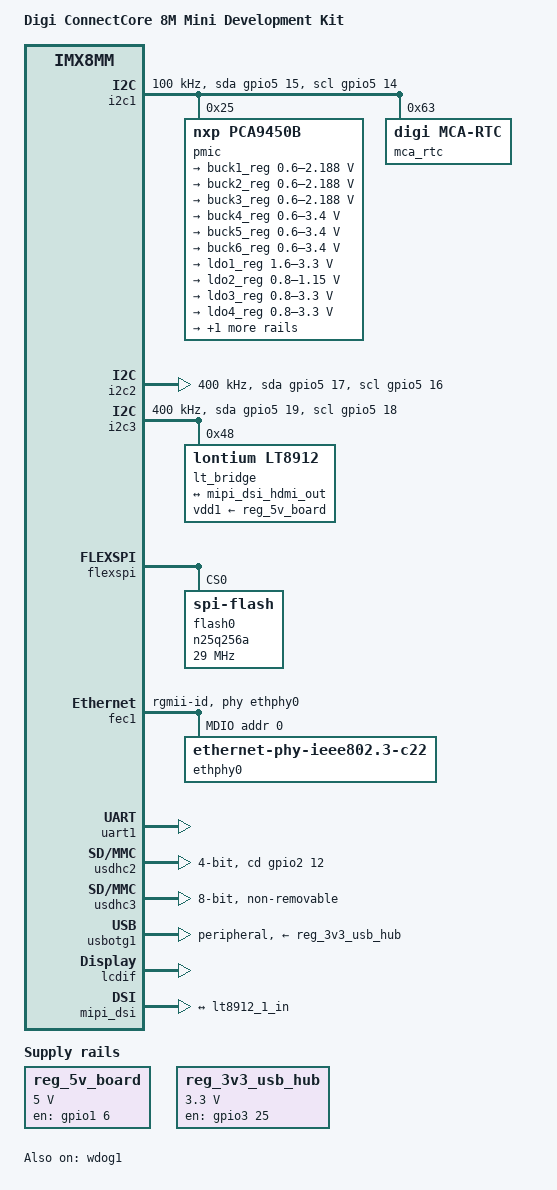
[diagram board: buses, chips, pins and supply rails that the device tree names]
/*
 * Copyright 2021-2024 Digi International Inc
 * Copyright 2018-2019 NXP
 *
 * This program is free software; you can redistribute it and/or
 * modify it under the terms of the GNU General Public License
 * as published by the Free Software Foundation; either version 2
 * of the License, or (at your option) any later version.
 *
 * This program is distributed in the hope that it will be useful,
 * but WITHOUT ANY WARRANTY; without even the implied warranty of
 * MERCHANTABILITY or FITNESS FOR A PARTICULAR PURPOSE.  See the
 * GNU General Public License for more details.
 */

/dts-v1/;

#include <dt-bindings/usb/pd.h>
#include "imx8mm.dtsi"

/ {
	model = "Digi ConnectCore 8M Mini Development Kit";
	compatible = "digi,ccimx8mm-dvk", "digi,ccimx8mm", "fsl,imx8mm-evk", "fsl,imx8mm";

	/*
	 * Some tools (like fw_printenv) rely on fixed mmcblk device indexes
	 * but these are not guaranteed by the kernel.
	 * The use of aliases allows to reorder the mmcblk indexes of every
	 * mmc device. Notice that using aliases requires that ALL mmc devices
	 * have one.
	 */
	aliases {
		mmc0 = &usdhc3;		/* eMMC */
		mmc1 = &usdhc2;		/* microSD */
		mmc2 = &usdhc1;
	};

	chosen {
		bootargs = "console=ttymxc0,115200 earlycon=ec_imx6q,0x30860000,115200";
		stdout-path = &uart1;
	};

	regulators {
		compatible = "simple-bus";
		#address-cells = <1>;
		#size-cells = <0>;

		reg_5v_board: regulator@1 {
			compatible = "regulator-fixed";
			reg = <1>;
			pinctrl-names = "default";
			pinctrl-0 = <&pinctrl_reg_5v_board>;
			regulator-name = "5v_board";
			regulator-min-microvolt = <5000000>;
			regulator-max-microvolt = <5000000>;
			gpio = <&gpio1 6 GPIO_ACTIVE_HIGH>;
			enable-active-high;
		};

		reg_3v3_usb_hub: regulator@4 {
			compatible = "regulator-fixed";
			reg = <4>;
			pinctrl-names = "default";
			pinctrl-0 = <&pinctrl_reg_3v3_usb_hub>;
			regulator-name = "3v3_usb_hub";
			regulator-min-microvolt = <3300000>;
			regulator-max-microvolt = <3300000>;
			gpio = <&gpio3 25 GPIO_ACTIVE_HIGH>;
			enable-active-high;
		};
	};

	thermal-zones {
		/* cpu thermal */
		cpu-thermal {
			polling-delay-passive = <250>;
			polling-delay = <2000>;
			thermal-sensors = <&tmu>;
			trips {
				cpu_alert0: trip0 {
					temperature = <85000>;
					hysteresis = <2000>;
					type = "passive";
				};
				cpu_crit0: trip1 {
					temperature = <100000>;
					hysteresis = <2000>;
					type = "critical";
				};
			};
		};
	};

	mca_gpio_uboot: mca_gpio {
		compatible = "digi,mca-gpio";
		gpio-controller;
	};

	mca_rtc_uboot: mca_rtc {
		compatible = "digi,mca-rtc";
	};

	mca_wdt_uboot: mca_wdt {
		compatible = "digi,mca-wdt";

		soft-rfsh {
			digi,full-reset;
			digi,no-way-out;
		};
	};

	dsi_host: dsi-host {
		compatible = "samsung,sec-mipi-dsi";
		status = "okay";
	};
};

&iomuxc {
	pinctrl-names = "default";
	pinctrl-0 = <&pinctrl_hog_1>;

	imx8mn-evk {
		pinctrl_hog_1: hoggrp-1 {
			fsl,pins = <
				MX8MM_IOMUXC_GPIO1_IO08_GPIO1_IO8		0x16
			>;
		};

		pinctrl_fec1: fec1grp {
			fsl,pins = <
				MX8MM_IOMUXC_ENET_MDC_ENET1_MDC		0x3
				MX8MM_IOMUXC_ENET_MDIO_ENET1_MDIO	0x3
				MX8MM_IOMUXC_ENET_TD3_ENET1_RGMII_TD3	0x1f
				MX8MM_IOMUXC_ENET_TD2_ENET1_RGMII_TD2	0x1f
				MX8MM_IOMUXC_ENET_TD1_ENET1_RGMII_TD1	0x1f
				MX8MM_IOMUXC_ENET_TD0_ENET1_RGMII_TD0	0x1f
				MX8MM_IOMUXC_ENET_RD3_ENET1_RGMII_RD3	0x91
				MX8MM_IOMUXC_ENET_RD2_ENET1_RGMII_RD2	0x91
				MX8MM_IOMUXC_ENET_RD1_ENET1_RGMII_RD1	0x91
				MX8MM_IOMUXC_ENET_RD0_ENET1_RGMII_RD0	0x91
				MX8MM_IOMUXC_ENET_TXC_ENET1_RGMII_TXC	0x1f
				MX8MM_IOMUXC_ENET_RXC_ENET1_RGMII_RXC	0x91
				MX8MM_IOMUXC_ENET_RX_CTL_ENET1_RGMII_RX_CTL	0x91
				MX8MM_IOMUXC_ENET_TX_CTL_ENET1_RGMII_TX_CTL	0x1f
				/* PHY reset */
				MX8MM_IOMUXC_SPDIF_TX_GPIO5_IO3	0x19
				/* PHY power */
				MX8MM_IOMUXC_SPDIF_RX_GPIO5_IO4	0x19
			>;
		};

		pinctrl_flexspi0: flexspi0grp {
			fsl,pins = <
				MX8MM_IOMUXC_NAND_ALE_QSPI_A_SCLK 0x1c4
				MX8MM_IOMUXC_NAND_CE0_B_QSPI_A_SS0_B 0x84

				MX8MM_IOMUXC_NAND_DATA00_QSPI_A_DATA0 0x84
				MX8MM_IOMUXC_NAND_DATA01_QSPI_A_DATA1 0x84
				MX8MM_IOMUXC_NAND_DATA02_QSPI_A_DATA2 0x84
				MX8MM_IOMUXC_NAND_DATA03_QSPI_A_DATA3 0x84
			>;
		};

		pinctrl_i2c1: i2c1grp {
			fsl,pins = <
				MX8MM_IOMUXC_I2C1_SCL_I2C1_SCL			0x400001c3
				MX8MM_IOMUXC_I2C1_SDA_I2C1_SDA			0x400001c3
			>;
		};

		pinctrl_i2c2: i2c2grp {
			fsl,pins = <
				MX8MM_IOMUXC_I2C2_SCL_I2C2_SCL			0x400001c3
				MX8MM_IOMUXC_I2C2_SDA_I2C2_SDA			0x400001c3
			>;
		};

		pinctrl_i2c3: i2c3grp {
			fsl,pins = <
				MX8MM_IOMUXC_I2C3_SCL_I2C3_SCL			0x400001c3
				MX8MM_IOMUXC_I2C3_SDA_I2C3_SDA			0x400001c3
			>;
		};

		pinctrl_i2c1_gpio: i2c1grp-gpio {
			fsl,pins = <
				MX8MM_IOMUXC_I2C1_SCL_GPIO5_IO14        		0x1c3
				MX8MM_IOMUXC_I2C1_SDA_GPIO5_IO15        	0x1c3
			>;
		};

		pinctrl_i2c2_gpio: i2c2grp-gpio {
			fsl,pins = <
				MX8MM_IOMUXC_I2C2_SCL_GPIO5_IO16        		0x1c3
				MX8MM_IOMUXC_I2C2_SDA_GPIO5_IO17        	0x1c3
			>;
		};

		pinctrl_i2c3_gpio: i2c3grp-gpio {
			fsl,pins = <
				MX8MM_IOMUXC_I2C3_SCL_GPIO5_IO18        		0x1c3
				MX8MM_IOMUXC_I2C3_SDA_GPIO5_IO19        	0x1c3
			>;
		};

		pinctrl_pmic: pmicirq {
			fsl,pins = <
				MX8MM_IOMUXC_GPIO1_IO03_GPIO1_IO3		0x41
			>;
		};

		pinctrl_reg_3v3_usb_hub: reg_3v3_usb_hub_grp {
			fsl,pins = <
				/* GPIO3_25 USB hub power enable */
				MX8MM_IOMUXC_SAI5_MCLK_GPIO3_IO25		0x41
			>;
		};

		pinctrl_uart1: uart1grp {
			fsl,pins = <
				MX8MM_IOMUXC_SAI2_RXC_UART1_DCE_RX	0x49
				MX8MM_IOMUXC_SAI2_RXFS_UART1_DCE_TX	0x49
			>;
		};

		pinctrl_usbotg1: usbotg1grp {
			fsl,pins = <
				/* USB hub reset */
				MX8MM_IOMUXC_ECSPI2_SCLK_GPIO5_IO10		0x16
			>;
		};

		pinctrl_usdhc2_gpio: usdhc2grpgpio {
			fsl,pins = <
				/* Card detect */
				MX8MM_IOMUXC_SD2_CD_B_GPIO2_IO12	0x1d0
				/* MUX_VSELECT */
				MX8MM_IOMUXC_SAI3_TXD_GPIO5_IO1	0x190
			>;
		};

		pinctrl_usdhc2: usdhc2grp {
			fsl,pins = <
				MX8MM_IOMUXC_SD2_CLK_USDHC2_CLK	0x190
				MX8MM_IOMUXC_SD2_CMD_USDHC2_CMD	0x1d0
				MX8MM_IOMUXC_SD2_DATA0_USDHC2_DATA0	0x1d0
				MX8MM_IOMUXC_SD2_DATA1_USDHC2_DATA1	0x1d0
				MX8MM_IOMUXC_SD2_DATA2_USDHC2_DATA2	0x1d0
				MX8MM_IOMUXC_SD2_DATA3_USDHC2_DATA3	0x1d0
			>;
		};

		pinctrl_usdhc2_100mhz: usdhc2grp100mhz {
			fsl,pins = <
				MX8MM_IOMUXC_SD2_CLK_USDHC2_CLK	0x194
				MX8MM_IOMUXC_SD2_CMD_USDHC2_CMD	0x1d4
				MX8MM_IOMUXC_SD2_DATA0_USDHC2_DATA0	0x1d4
				MX8MM_IOMUXC_SD2_DATA1_USDHC2_DATA1	0x1d4
				MX8MM_IOMUXC_SD2_DATA2_USDHC2_DATA2	0x1d4
				MX8MM_IOMUXC_SD2_DATA3_USDHC2_DATA3	0x1d4
			>;
		};

		pinctrl_usdhc2_200mhz: usdhc2grp200mhz {
			fsl,pins = <
				MX8MM_IOMUXC_SD2_CLK_USDHC2_CLK	0x196
				MX8MM_IOMUXC_SD2_CMD_USDHC2_CMD	0x1d6
				MX8MM_IOMUXC_SD2_DATA0_USDHC2_DATA0	0x1d6
				MX8MM_IOMUXC_SD2_DATA1_USDHC2_DATA1	0x1d6
				MX8MM_IOMUXC_SD2_DATA2_USDHC2_DATA2	0x1d6
				MX8MM_IOMUXC_SD2_DATA3_USDHC2_DATA3	0x1d6
			>;
		};

		pinctrl_usdhc3: usdhc3grp {
			fsl,pins = <
				MX8MM_IOMUXC_NAND_WE_B_USDHC3_CLK		0x40000190
				MX8MM_IOMUXC_NAND_WP_B_USDHC3_CMD		0x1d0
				MX8MM_IOMUXC_NAND_DATA04_USDHC3_DATA0		0x1d0
				MX8MM_IOMUXC_NAND_DATA05_USDHC3_DATA1		0x1d0
				MX8MM_IOMUXC_NAND_DATA06_USDHC3_DATA2		0x1d0
				MX8MM_IOMUXC_NAND_DATA07_USDHC3_DATA3		0x1d0
				MX8MM_IOMUXC_NAND_RE_B_USDHC3_DATA4		0x1d0
				MX8MM_IOMUXC_NAND_CE2_B_USDHC3_DATA5		0x1d0
				MX8MM_IOMUXC_NAND_CE3_B_USDHC3_DATA6		0x1d0
				MX8MM_IOMUXC_NAND_CLE_USDHC3_DATA7		0x1d0
				MX8MM_IOMUXC_NAND_CE1_B_USDHC3_STROBE 		0x190
			>;
		};

		pinctrl_usdhc3_100mhz: usdhc3grp100mhz {
			fsl,pins = <
				MX8MM_IOMUXC_NAND_WE_B_USDHC3_CLK		0x40000194
				MX8MM_IOMUXC_NAND_WP_B_USDHC3_CMD		0x1d4
				MX8MM_IOMUXC_NAND_DATA04_USDHC3_DATA0		0x1d4
				MX8MM_IOMUXC_NAND_DATA05_USDHC3_DATA1		0x1d4
				MX8MM_IOMUXC_NAND_DATA06_USDHC3_DATA2		0x1d4
				MX8MM_IOMUXC_NAND_DATA07_USDHC3_DATA3		0x1d4
				MX8MM_IOMUXC_NAND_RE_B_USDHC3_DATA4		0x1d4
				MX8MM_IOMUXC_NAND_CE2_B_USDHC3_DATA5		0x1d4
				MX8MM_IOMUXC_NAND_CE3_B_USDHC3_DATA6		0x1d4
				MX8MM_IOMUXC_NAND_CLE_USDHC3_DATA7		0x1d4
				MX8MM_IOMUXC_NAND_CE1_B_USDHC3_STROBE 		0x194
			>;
		};

		pinctrl_usdhc3_200mhz: usdhc3grp200mhz {
			fsl,pins = <
				MX8MM_IOMUXC_NAND_WE_B_USDHC3_CLK		0x40000196
				MX8MM_IOMUXC_NAND_WP_B_USDHC3_CMD		0x1d6
				MX8MM_IOMUXC_NAND_DATA04_USDHC3_DATA0		0x1d6
				MX8MM_IOMUXC_NAND_DATA05_USDHC3_DATA1		0x1d6
				MX8MM_IOMUXC_NAND_DATA06_USDHC3_DATA2		0x1d6
				MX8MM_IOMUXC_NAND_DATA07_USDHC3_DATA3		0x1d6
				MX8MM_IOMUXC_NAND_RE_B_USDHC3_DATA4		0x1d6
				MX8MM_IOMUXC_NAND_CE2_B_USDHC3_DATA5		0x1d6
				MX8MM_IOMUXC_NAND_CE3_B_USDHC3_DATA6		0x1d6
				MX8MM_IOMUXC_NAND_CLE_USDHC3_DATA7		0x1d6
				MX8MM_IOMUXC_NAND_CE1_B_USDHC3_STROBE 		0x196
			>;
		};

		pinctrl_wdog: wdoggrp {
			fsl,pins = <
				MX8MM_IOMUXC_GPIO1_IO02_WDOG1_WDOG_B		0xc6
			>;
		};

		pinctrl_reg_5v_board: reg_5v_board_grp {
			fsl,pins = <
				/* 5V regulator power enable */
				MX8MM_IOMUXC_GPIO1_IO06_GPIO1_IO6		0x41
			>;
		};

		pinctrl_lt8912: lt8912grp {
			fsl,pins = <
				/* HDMI_RST# at GPIO3_IO7 on CC8MM_DVK */
				MX8MM_IOMUXC_NAND_DATA01_GPIO3_IO7		0x19
				/* LT8912B_INT at GPIO3_IO9 on CC8MM_DVK */
				MX8MM_IOMUXC_NAND_DATA03_GPIO3_IO9		0x19
				/* LT8912B_HPD at GPIO3_IO8 on CC8MM_DVK */
				MX8MM_IOMUXC_NAND_DATA02_GPIO3_IO8		0x19
			>;
		};
	};
};

&i2c1 {
	clock-frequency = <100000>;
	pinctrl-names = "default", "gpio";
	pinctrl-0 = <&pinctrl_i2c1>;
	pinctrl-1 = <&pinctrl_i2c1_gpio>;
	scl-gpios = <&gpio5 14 GPIO_ACTIVE_HIGH>;
	sda-gpios = <&gpio5 15 GPIO_ACTIVE_HIGH>;
	status = "okay";

	pmic: pca9450@25 {
		reg = <0x25>;
		compatible = "nxp,pca9450b";

		gpo {
			nxp,drv = <0x0C>;	/* 0b0000_1100 all gpos with cmos output mode */
		};

		regulators {
			#address-cells = <1>;
			#size-cells = <0>;

			pca9450,pmic-buck2-uses-i2c-dvs;
			/* Run/Standby voltage */
			pca9450,pmic-buck2-dvs-voltage = <950000>, <850000>;

			buck1_reg: regulator@0 {
				reg = <0>;
				regulator-compatible = "buck1";
				regulator-min-microvolt = <600000>;
				regulator-max-microvolt = <2187500>;
				regulator-boot-on;
				regulator-always-on;
				regulator-ramp-delay = <3125>;
			};

			buck2_reg: regulator@1 {
				reg = <1>;
				regulator-compatible = "buck2";
				regulator-min-microvolt = <600000>;
				regulator-max-microvolt = <2187500>;
				regulator-boot-on;
				regulator-always-on;
				regulator-ramp-delay = <3125>;
			};

			buck3_reg: regulator@2 {
				reg = <2>;
				regulator-compatible = "buck3";
				regulator-min-microvolt = <600000>;
				regulator-max-microvolt = <2187500>;
				regulator-boot-on;
				regulator-always-on;
			};

			buck4_reg: regulator@3 {
				reg = <3>;
				regulator-compatible = "buck4";
				regulator-min-microvolt = <600000>;
				regulator-max-microvolt = <3400000>;
				regulator-boot-on;
				regulator-always-on;
			};

			buck5_reg: regulator@4 {
				reg = <4>;
				regulator-compatible = "buck5";
				regulator-min-microvolt = <600000>;
				regulator-max-microvolt = <3400000>;
				regulator-boot-on;
				regulator-always-on;
			};

			buck6_reg: regulator@5 {
				reg = <5>;
				regulator-compatible = "buck6";
				regulator-min-microvolt = <600000>;
				regulator-max-microvolt = <3400000>;
				regulator-boot-on;
				regulator-always-on;
			};

			ldo1_reg: regulator@6 {
				reg = <6>;
				regulator-compatible = "ldo1";
				regulator-min-microvolt = <1600000>;
				regulator-max-microvolt = <3300000>;
				regulator-boot-on;
				regulator-always-on;
			};

			ldo2_reg: regulator@7 {
				reg = <7>;
				regulator-compatible = "ldo2";
				regulator-min-microvolt = <800000>;
				regulator-max-microvolt = <1150000>;
				regulator-boot-on;
				regulator-always-on;
			};

			ldo3_reg: regulator@8 {
				reg = <8>;
				regulator-compatible = "ldo3";
				regulator-min-microvolt = <800000>;
				regulator-max-microvolt = <3300000>;
				regulator-boot-on;
				regulator-always-on;
			};

			ldo4_reg: regulator@9 {
				reg = <9>;
				regulator-compatible = "ldo4";
				regulator-min-microvolt = <800000>;
				regulator-max-microvolt = <3300000>;
				regulator-boot-on;
				regulator-always-on;
			};

			ldo5_reg: regulator@10 {
				reg = <10>;
				regulator-compatible = "ldo5";
				regulator-min-microvolt = <1800000>;
				regulator-max-microvolt = <3300000>;
			};

		};
	};

	mca_rtc: rtc@63 {
		compatible = "digi,mca-rtc";
		reg = <0x63>;
	};
};

&i2c2 {
	clock-frequency = <400000>;
	pinctrl-names = "default", "gpio";
	pinctrl-0 = <&pinctrl_i2c2>;
	pinctrl-1 = <&pinctrl_i2c2_gpio>;
	scl-gpios = <&gpio5 16 GPIO_ACTIVE_HIGH>;
	sda-gpios = <&gpio5 17 GPIO_ACTIVE_HIGH>;
	status = "okay";
};

&i2c3 {
	clock-frequency = <400000>;
	pinctrl-names = "default", "gpio";
	pinctrl-0 = <&pinctrl_i2c3>;
	pinctrl-1 = <&pinctrl_i2c3_gpio>;
	scl-gpios = <&gpio5 18 GPIO_ACTIVE_HIGH>;
	sda-gpios = <&gpio5 19 GPIO_ACTIVE_HIGH>;
	status = "okay";

	lt_bridge: lt8912@48 {
		compatible = "lontium,lt8912";
		reg = <0x48>;
		adi,dsi-lanes = <4>;
		vdd1-supply = <&reg_5v_board>;
		status = "okay";

		pinctrl-names = "default";
		pinctrl-0 = <&pinctrl_lt8912>;

		port {
			lt8912_1_in: endpoint {
				remote-endpoint = <&mipi_dsi_hdmi_out>;
			};
		};
	};
};

&flexspi {
	pinctrl-names = "default";
	pinctrl-0 = <&pinctrl_flexspi0>;
	status = "okay";

	flash0: n25q256a@0 {
		reg = <0>;
		#address-cells = <1>;
		#size-cells = <1>;
		compatible = "spi-flash";
		spi-max-frequency = <29000000>;
		spi-nor,ddr-quad-read-dummy = <8>;
	};
};

&fec1 {
	pinctrl-names = "default";
	pinctrl-0 = <&pinctrl_fec1>;
	phy-mode = "rgmii-id";
	phy-handle = <&ethphy0>;
	fsl,magic-packet;
	status = "okay";

	mdio {
		#address-cells = <1>;
		#size-cells = <0>;

		ethphy0: ethernet-phy@0 {
			compatible = "ethernet-phy-ieee802.3-c22";
			reg = <0>;
			at803x,led-act-blind-workaround;
			at803x,eee-okay;
			at803x,vddio-1p8v;
		};
	};
};

&uart1 { /* console */
	pinctrl-names = "default";
	pinctrl-0 = <&pinctrl_uart1>;
	status = "okay";
};

&usdhc2 {
	pinctrl-names = "default", "state_100mhz", "state_200mhz";
	pinctrl-0 = <&pinctrl_usdhc2>, <&pinctrl_usdhc2_gpio>;
	pinctrl-1 = <&pinctrl_usdhc2_100mhz>, <&pinctrl_usdhc2_gpio>;
	pinctrl-2 = <&pinctrl_usdhc2_200mhz>, <&pinctrl_usdhc2_gpio>;
	cd-gpios = <&gpio2 12 GPIO_ACTIVE_HIGH>;
	/* Assert GPIO5_IO1 low for 3V3 (default) or high for 1.8V */
	pinctrl-assert-gpios = <&gpio5 1 GPIO_ACTIVE_LOW>;
	/* 1.8V currently unsupported */
	no-1-8-v;
	bus-width = <4>;
	status = "okay";
};

&usdhc3 {
	pinctrl-names = "default", "state_100mhz", "state_200mhz";
	pinctrl-0 = <&pinctrl_usdhc3>;
	pinctrl-1 = <&pinctrl_usdhc3_100mhz>;
	pinctrl-2 = <&pinctrl_usdhc3_200mhz>;
	bus-width = <8>;
	non-removable;
	status = "okay";
};

&wdog1 {
	pinctrl-names = "default";
	pinctrl-0 = <&pinctrl_wdog>;
	fsl,ext-reset-output;
	status = "okay";
};

&A53_0 {
	arm-supply = <&buck2_reg>;
};

/* USB_OTG1 connected to usb hub */
&usbotg1 {
	pinctrl-names = "default";
	pinctrl-0 = <&pinctrl_usbotg1>;
	vbus-supply = <&reg_3v3_usb_hub>;
	fsl,reset-gpio = <&gpio5 10 GPIO_ACTIVE_LOW>;
	dr_mode = "peripheral"; /* Set "host" to use a USB mass storage */
	disable-over-current;
	status = "okay";
};

&lcdif {
	display = <&display0>;
	status = "okay";

	display0: display@0 {
		bits-per-pixel = <24>;
		bus-width = <24>;
	};
};

&mipi_dsi {
	status = "okay";

	port@1 {
		mipi_dsi_hdmi_out: endpoint {
			remote-endpoint = <&lt8912_1_in>;
		};
	};
};
